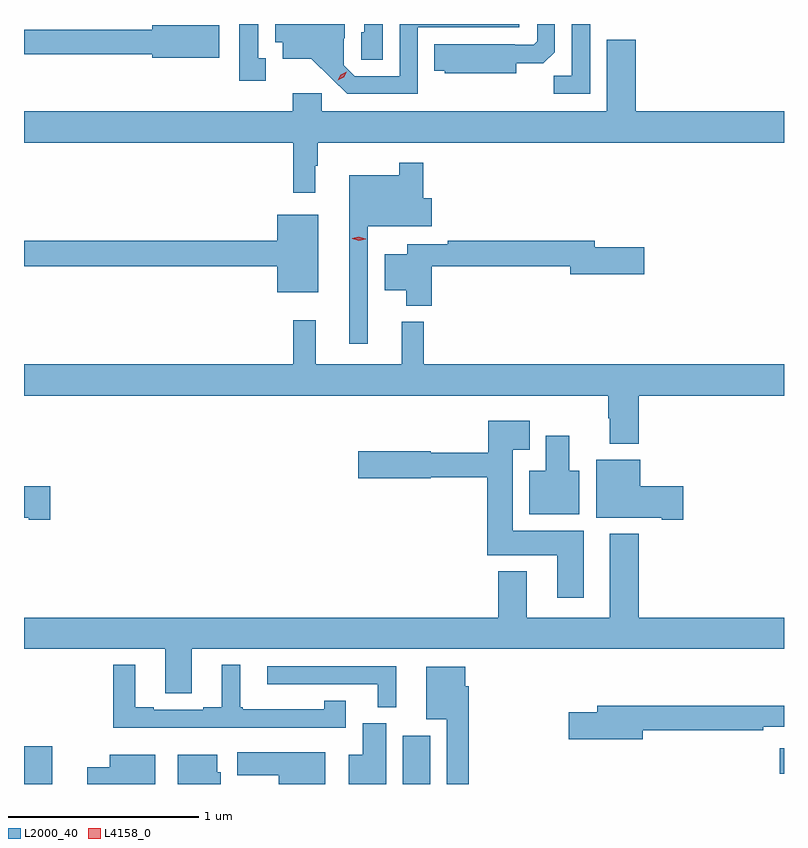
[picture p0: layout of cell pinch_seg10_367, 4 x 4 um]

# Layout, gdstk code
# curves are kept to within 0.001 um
import gdstk
lib = gdstk.Library(unit=1e-6, precision=1e-09)
def R(c, l, rs):  # rectangles x0, y0, x1, y1
    for r in rs: c.add(gdstk.rectangle(r[:2], r[2:], *l))
def P(c, l, *ps):  # polygons
    for p in ps: c.add(gdstk.Polygon(p, *l))
L2000_40 = (2000, 40)
L4158_0 = (4158, 0)

pinch_seg10_367 = lib.new_cell('pinch_seg10_367')
R(pinch_seg10_367, L2000_40, [(592.482,1280.956,592.63,1281.154), (594.476,1280.956,594.619,1281.211), (596.46,1281.011,596.482,1281.145)])
P(pinch_seg10_367, L2000_40, [(593.755,1284.777),(593.716,1284.777),(593.716,1284.956),(593.615,1284.956),(593.615,1284.657),(593.755,1284.657)],
  [(595.072,1284.749),(595.216,1284.749),(595.275,1284.808),(595.275,1284.956),(595.182,1284.956),(595.182,1284.864),(595.164,1284.846),(595.064,1284.846),(595.064,1284.85),(594.64,1284.85),(594.64,1284.71),(594.696,1284.71),(594.696,1284.698),(595.072,1284.698)],
  [(594.369,1284.956),(594.273,1284.956),(594.273,1284.912),(594.258,1284.912),(594.258,1284.769),(594.369,1284.769)],
  [(595.461,1284.956),(595.365,1284.956),(595.365,1284.683),(595.27,1284.683),(595.27,1284.588),(595.461,1284.588)],
  [(594.555,1284.939),(595.089,1284.939),(595.089,1284.956),(594.459,1284.956),(594.459,1284.681),(594.222,1284.681),(594.165,1284.738),(594.165,1284.88),(594.169,1284.88),(594.169,1284.956),(593.804,1284.956),(593.804,1284.86),(593.843,1284.86),(593.843,1284.773),(593.995,1284.773),(594.182,1284.588),(594.555,1284.588)],
  [(593.509,1284.95),(593.156,1284.95),(593.156,1284.926),(592.482,1284.926),(592.482,1284.798),(593.156,1284.798),(593.156,1284.779),(593.509,1284.779)],
  [(594.016,1284.209),(594.028,1284.209),(594.028,1284.332),(596.482,1284.332),(596.482,1284.496),(595.703,1284.496),(595.703,1284.874),(595.55,1284.874),(595.55,1284.496),(594.048,1284.496),(594.048,1284.592),(593.897,1284.592),(593.897,1284.496),(592.482,1284.496),(592.482,1284.332),(593.899,1284.332),(593.899,1284.069),(594.016,1284.069)],
  [(594.291,1283.891),(594.628,1283.891),(594.628,1284.039),(594.584,1284.039),(594.584,1284.226),(594.456,1284.226),(594.456,1284.16),(594.194,1284.16),(594.194,1283.274),(594.291,1283.274)],
  [(594.031,1283.953),(593.816,1283.953),(593.816,1283.816),(592.482,1283.816),(592.482,1283.68),(593.816,1283.68),(593.816,1283.543),(594.031,1283.543)],
  [(594.629,1283.68),(595.358,1283.68),(595.358,1283.638),(595.747,1283.638),(595.747,1283.78),(595.486,1283.78),(595.486,1283.816),(594.712,1283.816),(594.712,1283.796),(594.5,1283.796),(594.5,1283.743),(594.38,1283.743),(594.38,1283.555),(594.494,1283.555),(594.494,1283.474),(594.629,1283.474)],
  [(595.718,1283),(596.482,1283),(596.482,1283.164),(594.587,1283.164),(594.587,1283.389),(594.47,1283.389),(594.47,1283.164),(594.017,1283.164),(594.017,1283.398),(593.899,1283.398),(593.899,1283.164),(592.482,1283.164),(592.482,1283),(595.558,1283),(595.558,1282.88),(595.565,1282.88),(595.565,1282.748),(595.718,1282.748)],
  [(595.429,1282.288),(595.054,1282.288),(595.054,1282.715),(595.144,1282.715),(595.144,1282.867),(594.925,1282.867),(594.925,1282.699),(594.624,1282.699),(594.624,1282.707),(594.24,1282.707),(594.24,1282.565),(594.624,1282.565),(594.624,1282.57),(594.92,1282.57),(594.92,1282.16),(595.289,1282.16),(595.289,1281.936),(595.429,1281.936)],
  [(595.405,1282.606),(595.351,1282.606),(595.351,1282.789),(595.229,1282.789),(595.229,1282.606),(595.142,1282.606),(595.142,1282.376),(595.405,1282.376)],
  [(595.951,1282.524),(595.726,1282.524),(595.726,1282.663),(595.493,1282.663),(595.493,1282.358),(595.838,1282.358),(595.838,1282.346),(595.951,1282.346)],
  [(592.621,1282.524),(592.482,1282.524),(592.482,1282.358),(592.508,1282.358),(592.508,1282.346),(592.621,1282.346)],
  [(593.365,1281.668),(596.482,1281.668),(596.482,1281.832),(595.718,1281.832),(595.718,1282.273),(595.565,1282.273),(595.565,1281.832),(595.129,1281.832),(595.129,1282.075),(594.977,1282.075),(594.977,1281.832),(592.482,1281.832),(592.482,1281.668),(593.225,1281.668),(593.225,1281.433),(593.365,1281.433)],
  [(593.526,1281.252),(594.175,1281.252),(594.175,1281.395),(594.062,1281.395),(594.062,1281.349),(593.632,1281.349),(593.632,1281.361),(593.62,1281.361),(593.62,1281.583),(593.522,1281.583),(593.522,1281.361),(593.426,1281.361),(593.426,1281.348),(593.164,1281.348),(593.164,1281.361),(593.068,1281.361),(593.068,1281.583),(592.951,1281.583),(592.951,1281.251),(593.526,1281.251)],
  [(594.442,1281.576),(593.763,1281.576),(593.763,1281.48),(594.344,1281.48),(594.344,1281.361),(594.442,1281.361)],
  [(594.824,1281.47),(594.805,1281.47),(594.805,1281.574),(594.599,1281.574),(594.599,1281.296),(594.708,1281.296),(594.708,1280.956),(594.824,1280.956)],
  [(595.738,1281.238),(596.372,1281.238),(596.372,1281.258),(596.482,1281.258),(596.482,1281.367),(595.499,1281.367),(595.499,1281.333),(595.35,1281.333),(595.35,1281.191),(595.738,1281.191)],
  [(594.388,1281.276),(594.266,1281.276),(594.266,1281.109),(594.191,1281.109),(594.191,1280.956),(594.388,1280.956)],
  [(594.067,1281.124),(593.604,1281.124),(593.604,1281.002),(593.822,1281.002),(593.822,1280.956),(594.067,1280.956)],
  [(593.173,1281.109),(592.934,1281.109),(592.934,1281.044),(592.815,1281.044),(592.815,1280.956),(593.173,1280.956)],
  [(593.518,1281.018),(593.5,1281.018),(593.5,1281.109),(593.291,1281.109),(593.291,1280.956),(593.518,1280.956)])
P(pinch_seg10_367, L4158_0, [(594.244,1283.816),(594.21,1283.827),(594.209,1283.828),(594.21,1283.828),(594.245,1283.836),(594.28,1283.825),(594.28,1283.825),(594.28,1283.824)],
  [(594.133,1284.661),(594.133,1284.661),(594.15,1284.69),(594.181,1284.706),(594.181,1284.706),(594.181,1284.705),(594.164,1284.676),(594.133,1284.661)])

lib.write_gds('pinch_seg10_367.gds')
